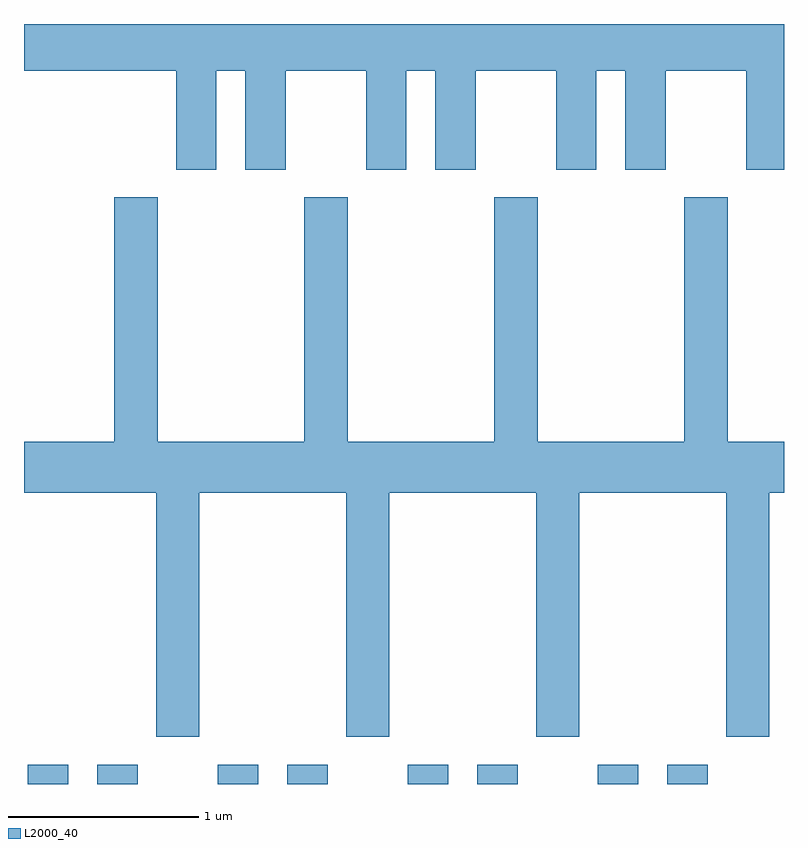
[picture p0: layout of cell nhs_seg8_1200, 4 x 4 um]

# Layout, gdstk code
import gdstk
lib = gdstk.Library(unit=1e-6, precision=1e-09)
def R(c, l, rs):  # rectangles x0, y0, x1, y1
    for r in rs: c.add(gdstk.rectangle(r[:2], r[2:], *l))
def P(c, l, *ps):  # polygons
    for p in ps: c.add(gdstk.Polygon(p, *l))
L2000_40 = (2000, 40)

nhs_seg8_1200 = lib.new_cell('nhs_seg8_1200')
R(nhs_seg8_1200, L2000_40, [(219.631,1930.342,219.844,1930.444), (219.996,1930.342,220.209,1930.444), (220.631,1930.342,220.844,1930.444), (220.996,1930.342,221.209,1930.444), (221.631,1930.342,221.844,1930.444), (221.996,1930.342,222.209,1930.444), (222.631,1930.342,222.844,1930.444), (222.996,1930.342,223.209,1930.444)])
P(nhs_seg8_1200, L2000_40, [(220.624,1934.096),(220.776,1934.096),(220.776,1933.576),(220.989,1933.576),(220.989,1934.096),(221.411,1934.096),(221.411,1933.576),(221.624,1933.576),(221.624,1934.096),(221.776,1934.096),(221.776,1933.576),(221.989,1933.576),(221.989,1934.096),(222.411,1934.096),(222.411,1933.576),(222.624,1933.576),(222.624,1934.096),(222.776,1934.096),(222.776,1933.576),(222.989,1933.576),(222.989,1934.096),(223.411,1934.096),(223.411,1933.576),(223.611,1933.576),(223.611,1934.342),(219.611,1934.342),(219.611,1934.096),(220.411,1934.096),(220.411,1933.576),(220.624,1933.576)],
  [(220.534,1931.876),(221.306,1931.876),(221.306,1930.591),(221.534,1930.591),(221.534,1931.876),(222.306,1931.876),(222.306,1930.591),(222.534,1930.591),(222.534,1931.876),(223.306,1931.876),(223.306,1930.591),(223.534,1930.591),(223.534,1931.876),(223.611,1931.876),(223.611,1932.144),(223.314,1932.144),(223.314,1933.429),(223.086,1933.429),(223.086,1932.144),(222.314,1932.144),(222.314,1933.429),(222.086,1933.429),(222.086,1932.144),(221.314,1932.144),(221.314,1933.429),(221.086,1933.429),(221.086,1932.144),(220.314,1932.144),(220.314,1933.429),(220.086,1933.429),(220.086,1932.144),(219.611,1932.144),(219.611,1931.876),(220.306,1931.876),(220.306,1930.591),(220.534,1930.591)])

lib.write_gds('nhs_seg8_1200.gds')
